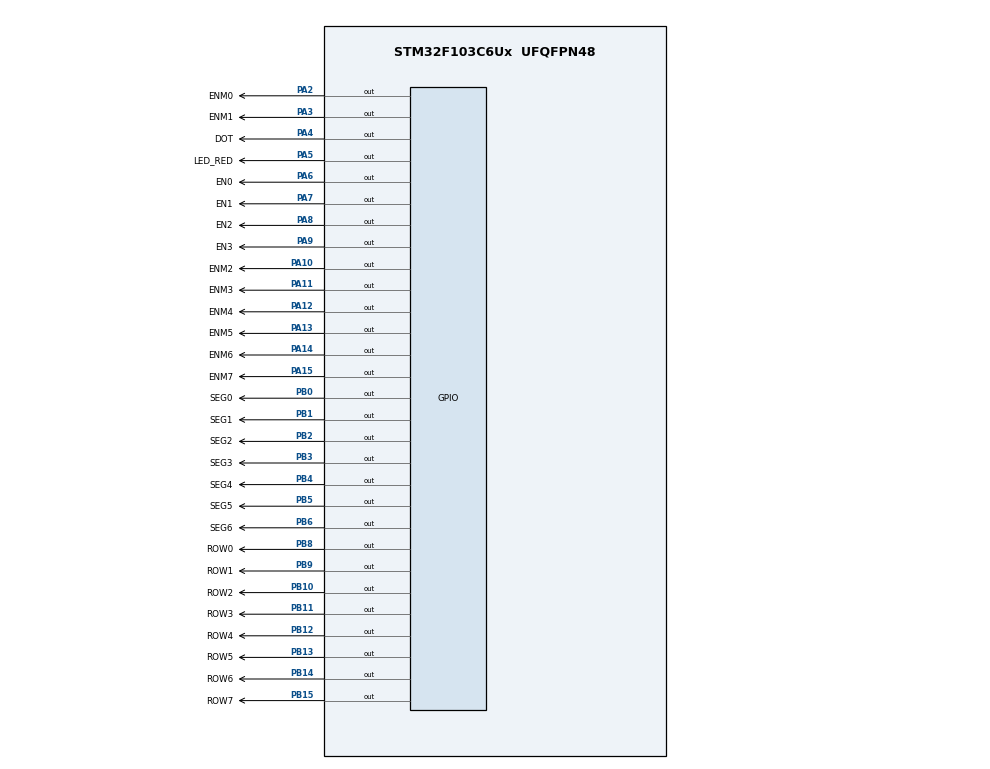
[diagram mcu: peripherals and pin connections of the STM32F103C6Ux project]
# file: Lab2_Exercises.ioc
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Mcu.Family=STM32F1
Mcu.Name=STM32F103C6Ux
Mcu.Package=UFQFPN48
NVIC.PriorityGroup=NVIC_PRIORITYGROUP_4
NVIC.TIM2_IRQn=true\:0\:0\:false\:false\:true\:true\:true
PA10.GPIO_Label=ENM2
PA10.Signal=GPIO_Output
PA11.GPIO_Label=ENM3
PA11.Signal=GPIO_Output
PA12.GPIO_Label=ENM4
PA12.Signal=GPIO_Output
PA13.GPIO_Label=ENM5
PA13.Signal=GPIO_Output
PA14.GPIO_Label=ENM6
PA14.Signal=GPIO_Output
PA15.GPIO_Label=ENM7
PA15.Signal=GPIO_Output
PA2.GPIO_Label=ENM0
PA2.Signal=GPIO_Output
PA3.GPIO_Label=ENM1
PA3.Signal=GPIO_Output
PA4.GPIO_Label=DOT
PA4.Signal=GPIO_Output
PA5.GPIO_Label=LED_RED
PA5.Signal=GPIO_Output
PA6.GPIO_Label=EN0
PA6.Signal=GPIO_Output
PA7.GPIO_Label=EN1
PA7.Signal=GPIO_Output
PA8.GPIO_Label=EN2
PA8.Signal=GPIO_Output
PA9.GPIO_Label=EN3
PA9.Signal=GPIO_Output
PB0.GPIO_Label=SEG0
PB0.Signal=GPIO_Output
PB1.GPIO_Label=SEG1
PB1.Signal=GPIO_Output
PB10.GPIO_Label=ROW2
PB10.Signal=GPIO_Output
PB11.GPIO_Label=ROW3
PB11.Signal=GPIO_Output
PB12.GPIO_Label=ROW4
PB12.Signal=GPIO_Output
PB13.GPIO_Label=ROW5
PB13.Signal=GPIO_Output
PB14.GPIO_Label=ROW6
PB14.Signal=GPIO_Output
PB15.GPIO_Label=ROW7
PB15.Signal=GPIO_Output
PB2.GPIO_Label=SEG2
PB2.Signal=GPIO_Output
PB3.GPIO_Label=SEG3
PB3.Signal=GPIO_Output
PB4.GPIO_Label=SEG4
PB4.Signal=GPIO_Output
PB5.GPIO_Label=SEG5
PB5.Signal=GPIO_Output
PB6.GPIO_Label=SEG6
PB6.Signal=GPIO_Output
PB8.GPIO_Label=ROW0
PB8.Signal=GPIO_Output
PB9.GPIO_Label=ROW1
PB9.Signal=GPIO_Output
ProjectManager.HeapSize=0x200
ProjectManager.StackSize=0x400
ProjectManager.TargetToolchain=STM32CubeIDE
RCC.APB1Freq_Value=8000000
RCC.APB2Freq_Value=8000000
TIM2.Period=9
TIM2.Prescaler=7999
VP_SYS_VS_ND.Mode=No_Debug
VP_TIM2_VS_ClockSourceINT.Mode=Internal
board=custom

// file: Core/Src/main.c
/* USER CODE BEGIN Header */
/**
  ******************************************************************************
  * @file           : main.c
  * @brief          : Main program body
  ******************************************************************************
  * @attention
  *
  * <h2><center>&copy; Copyright (c) 2023 STMicroelectronics.
  * All rights reserved.</center></h2>
  *
  * This software component is licensed by ST under BSD 3-Clause license,
  * the "License"; You may not use this file except in compliance with the
  * License. You may obtain a copy of the License at:
  *                        opensource.org/licenses/BSD-3-Clause
  *
  ******************************************************************************
  */
/* USER CODE END Header */
#include "main.h"

/* USER CODE BEGIN Includes */
#include <software_timer.h>
/* USER CODE END Includes */

TIM_HandleTypeDef htim2;

void SystemClock_Config(void);
static void MX_GPIO_Init(void);
static void MX_TIM2_Init(void);

/* USER CODE BEGIN 0 */
void display7SEG(int counter) {
	if(counter == 0) {
		HAL_GPIO_WritePin(SEG0_GPIO_Port, SEG0_Pin, RESET);
		HAL_GPIO_WritePin(SEG1_GPIO_Port, SEG1_Pin, RESET);
		HAL_GPIO_WritePin(SEG2_GPIO_Port, SEG2_Pin, RESET);
		HAL_GPIO_WritePin(SEG3_GPIO_Port, SEG3_Pin, RESET);
		HAL_GPIO_WritePin(SEG4_GPIO_Port, SEG4_Pin, RESET);
		HAL_GPIO_WritePin(SEG5_GPIO_Port, SEG5_Pin, RESET);
		HAL_GPIO_WritePin(SEG6_GPIO_Port, SEG6_Pin, SET);
	}
	else if(counter == 1) {
		HAL_GPIO_WritePin(SEG0_GPIO_Port, SEG0_Pin, SET);
		HAL_GPIO_WritePin(SEG1_GPIO_Port, SEG1_Pin, RESET);
		HAL_GPIO_WritePin(SEG2_GPIO_Port, SEG2_Pin, RESET);
		HAL_GPIO_WritePin(SEG3_GPIO_Port, SEG3_Pin, SET);
		HAL_GPIO_WritePin(SEG4_GPIO_Port, SEG4_Pin, SET);
		HAL_GPIO_WritePin(SEG5_GPIO_Port, SEG5_Pin, SET);
		HAL_GPIO_WritePin(SEG6_GPIO_Port, SEG6_Pin, SET);
	}
	else if(counter == 2) {
		HAL_GPIO_WritePin(SEG0_GPIO_Port, SEG0_Pin, RESET);
		HAL_GPIO_WritePin(SEG1_GPIO_Port, SEG1_Pin, RESET);
		HAL_GPIO_WritePin(SEG2_GPIO_Port, SEG2_Pin, SET);
		HAL_GPIO_WritePin(SEG3_GPIO_Port, SEG3_Pin, RESET);
		HAL_GPIO_WritePin(SEG4_GPIO_Port, SEG4_Pin, RESET);
		HAL_GPIO_WritePin(SEG5_GPIO_Port, SEG5_Pin, SET);
		HAL_GPIO_WritePin(SEG6_GPIO_Port, SEG6_Pin, RESET);
	}

	else if(counter == 3) {
		HAL_GPIO_WritePin(SEG0_GPIO_Port, SEG0_Pin, RESET);
		HAL_GPIO_WritePin(SEG1_GPIO_Port, SEG1_Pin, RESET);
		HAL_GPIO_WritePin(SEG2_GPIO_Port, SEG2_Pin, RESET);
		HAL_GPIO_WritePin(SEG3_GPIO_Port, SEG3_Pin, RESET);
		HAL_GPIO_WritePin(SEG4_GPIO_Port, SEG4_Pin, SET);
		HAL_GPIO_WritePin(SEG5_GPIO_Port, SEG5_Pin, SET);
		HAL_GPIO_WritePin(SEG6_GPIO_Port, SEG6_Pin, RESET);
	}
	else if(counter == 4) {
		HAL_GPIO_WritePin(SEG0_GPIO_Port, SEG0_Pin, SET);
		HAL_GPIO_WritePin(SEG1_GPIO_Port, SEG1_Pin, RESET);
		HAL_GPIO_WritePin(SEG2_GPIO_Port, SEG2_Pin, RESET);
		HAL_GPIO_WritePin(SEG3_GPIO_Port, SEG3_Pin, SET);
		HAL_GPIO_WritePin(SEG4_GPIO_Port, SEG4_Pin, SET);
		HAL_GPIO_WritePin(SEG5_GPIO_Port, SEG5_Pin, RESET);
		HAL_GPIO_WritePin(SEG6_GPIO_Port, SEG6_Pin, RESET);
	}
	else if(counter == 5) {
		HAL_GPIO_WritePin(SEG0_GPIO_Port, SEG0_Pin, RESET);
		HAL_GPIO_WritePin(SEG1_GPIO_Port, SEG1_Pin, SET);
		HAL_GPIO_WritePin(SEG2_GPIO_Port, SEG2_Pin, RESET);
		HAL_GPIO_WritePin(SEG3_GPIO_Port, SEG3_Pin, RESET);
		HAL_GPIO_WritePin(SEG4_GPIO_Port, SEG4_Pin, SET);
		HAL_GPIO_WritePin(SEG5_GPIO_Port, SEG5_Pin, RESET);
		HAL_GPIO_WritePin(SEG6_GPIO_Port, SEG6_Pin, RESET);
	}
	else if(counter == 6) {
		HAL_GPIO_WritePin(SEG0_GPIO_Port, SEG0_Pin, RESET);
		HAL_GPIO_WritePin(SEG1_GPIO_Port, SEG1_Pin, SET);
		HAL_GPIO_WritePin(SEG2_GPIO_Port, SEG2_Pin, RESET);
		HAL_GPIO_WritePin(SEG3_GPIO_Port, SEG3_Pin, RESET);
		HAL_GPIO_WritePin(SEG4_GPIO_Port, SEG4_Pin, RESET);
		HAL_GPIO_WritePin(SEG5_GPIO_Port, SEG5_Pin, RESET);
		HAL_GPIO_WritePin(SEG6_GPIO_Port, SEG6_Pin, RESET);
	}
	else if(counter == 7) {
		HAL_GPIO_WritePin(SEG0_GPIO_Port, SEG0_Pin, RESET);
		HAL_GPIO_WritePin(SEG1_GPIO_Port, SEG1_Pin, RESET);
		HAL_GPIO_WritePin(SEG2_GPIO_Port, SEG2_Pin, RESET);
		HAL_GPIO_WritePin(SEG3_GPIO_Port, SEG3_Pin, SET);
		HAL_GPIO_WritePin(SEG4_GPIO_Port, SEG4_Pin, SET);
		HAL_GPIO_WritePin(SEG5_GPIO_Port, SEG5_Pin, SET);
		HAL_GPIO_WritePin(SEG6_GPIO_Port, SEG6_Pin, SET);
	}
	else if(counter == 8) {
		HAL_GPIO_WritePin(SEG0_GPIO_Port, SEG0_Pin, RESET);
		HAL_GPIO_WritePin(SEG1_GPIO_Port, SEG1_Pin, RESET);
		HAL_GPIO_WritePin(SEG2_GPIO_Port, SEG2_Pin, RESET);
		HAL_GPIO_WritePin(SEG3_GPIO_Port, SEG3_Pin, RESET);
		HAL_GPIO_WritePin(SEG4_GPIO_Port, SEG4_Pin, RESET);
		HAL_GPIO_WritePin(SEG5_GPIO_Port, SEG5_Pin, RESET);
		HAL_GPIO_WritePin(SEG6_GPIO_Port, SEG6_Pin, RESET);
	}
	else if(counter == 9) {
		HAL_GPIO_WritePin(SEG0_GPIO_Port, SEG0_Pin, RESET);
		HAL_GPIO_WritePin(SEG1_GPIO_Port, SEG1_Pin, RESET);
		HAL_GPIO_WritePin(SEG2_GPIO_Port, SEG2_Pin, RESET);
		HAL_GPIO_WritePin(SEG3_GPIO_Port, SEG3_Pin, RESET);
		HAL_GPIO_WritePin(SEG4_GPIO_Port, SEG4_Pin, SET);
		HAL_GPIO_WritePin(SEG5_GPIO_Port, SEG5_Pin, RESET);
		HAL_GPIO_WritePin(SEG6_GPIO_Port, SEG6_Pin, RESET);
	}

}

const int MAX_LED = 4;
int index_led = 0;
int led_buffer[4] = {1,2,3,4};

void update7SEG(int index) {
	switch(index) {
	  case 0:
		  HAL_GPIO_WritePin(EN0_GPIO_Port, EN0_Pin, RESET);
		  HAL_GPIO_WritePin(EN1_GPIO_Port, EN1_Pin, SET);
		  HAL_GPIO_WritePin(EN2_GPIO_Port, EN2_Pin, SET);
		  HAL_GPIO_WritePin(EN3_GPIO_Port, EN3_Pin, SET);
		  display7SEG(led_buffer[0]);
		  break;
	  case 1:
		  HAL_GPIO_WritePin(EN0_GPIO_Port, EN0_Pin, SET);
		  HAL_GPIO_WritePin(EN1_GPIO_Port, EN1_Pin, RESET);
		  HAL_GPIO_WritePin(EN2_GPIO_Port, EN2_Pin, SET);
		  HAL_GPIO_WritePin(EN3_GPIO_Port, EN3_Pin, SET);
		  display7SEG(led_buffer[1]);
		  break;
	  case 2:
		  HAL_GPIO_WritePin(EN0_GPIO_Port, EN0_Pin, SET);
		  HAL_GPIO_WritePin(EN1_GPIO_Port, EN1_Pin, SET);
		  HAL_GPIO_WritePin(EN2_GPIO_Port, EN2_Pin, RESET);
		  HAL_GPIO_WritePin(EN3_GPIO_Port, EN3_Pin, SET);
		  display7SEG(led_buffer[2]);
		  break;
	  case 3:
		  HAL_GPIO_WritePin(EN0_GPIO_Port, EN0_Pin, SET);
		  HAL_GPIO_WritePin(EN1_GPIO_Port, EN1_Pin, SET);
		  HAL_GPIO_WritePin(EN2_GPIO_Port, EN2_Pin, SET);
		  HAL_GPIO_WritePin(EN3_GPIO_Port, EN3_Pin, RESET);
		  display7SEG(led_buffer[3]);
		  break;
	  default:
		  break;

	}
}

int hour = 15, minute = 8, second = 50;
void updateClockBuffer() {
	int temp;
	if(hour >= 10) {
		temp = hour;
		led_buffer[0] = temp/10;
		temp = temp%10;
		led_buffer[1] = temp;
	}
	else {
		led_buffer[0] = 0;
		led_buffer[1] = hour;
	}

	if(minute >= 10) {
		temp = minute;
		led_buffer[2] = temp/10;
		temp = temp%10;
		led_buffer[3] = temp;
	}
	else {
		led_buffer[2] = 0;
		led_buffer[3] = minute;
	}
}

const int MAX_LED_MATRIX = 8;
const int MAX_SHIFT_NUM = 8;
int index_led_matrix = 0;
int shift_number = 1;
int shift_number2 = 6;
uint8_t matrix_buffer[8] = {0x18, 0x3C, 0x66, 0x66, 0x7E, 0x7E, 0x66, 0x66};
uint8_t temp_matrix_buffer1[8];
uint8_t matrix_buffer2[8] = {0x7E, 0x7E, 0x06, 0x3E, 0x3E, 0x06, 0x7E, 0x7E};
void displayMatrixColumn(uint8_t counter) {
	HAL_GPIO_WritePin(GPIOA, ENM0_Pin, counter >> 0 & GPIO_PIN_SET);
	HAL_GPIO_WritePin(GPIOA, ENM1_Pin, counter >> 1 & GPIO_PIN_SET);
	HAL_GPIO_WritePin(GPIOA, ENM2_Pin, counter >> 2 & GPIO_PIN_SET);
	HAL_GPIO_WritePin(GPIOA, ENM3_Pin, counter >> 3 & GPIO_PIN_SET);
	HAL_GPIO_WritePin(GPIOA, ENM4_Pin, counter >> 4 & GPIO_PIN_SET);
	HAL_GPIO_WritePin(GPIOA, ENM5_Pin, counter >> 5 & GPIO_PIN_SET);
	HAL_GPIO_WritePin(GPIOA, ENM6_Pin, counter >> 6 & GPIO_PIN_SET);
	HAL_GPIO_WritePin(GPIOA, ENM7_Pin, counter >> 7 & GPIO_PIN_SET);
}
void updateLEDMatrix(int index) {
	switch(index) {
	case 0:
		HAL_GPIO_WritePin(GPIOB, ROW0_Pin, GPIO_PIN_SET);
		HAL_GPIO_WritePin(GPIOB, ROW1_Pin | ROW2_Pin | ROW3_Pin | ROW4_Pin | ROW5_Pin | ROW6_Pin | ROW7_Pin, GPIO_PIN_RESET);
		break;
	case 1:
		HAL_GPIO_WritePin(GPIOB, ROW1_Pin, GPIO_PIN_SET);
		HAL_GPIO_WritePin(GPIOB, ROW0_Pin | ROW2_Pin | ROW3_Pin | ROW4_Pin | ROW5_Pin | ROW6_Pin | ROW7_Pin, GPIO_PIN_RESET);
		break;
	case 2:
		HAL_GPIO_WritePin(GPIOB, ROW2_Pin, GPIO_PIN_SET);
		HAL_GPIO_WritePin(GPIOB, ROW0_Pin | ROW1_Pin | ROW3_Pin | ROW4_Pin | ROW5_Pin | ROW6_Pin | ROW7_Pin, GPIO_PIN_RESET);
		break;
	case 3:
		HAL_GPIO_WritePin(GPIOB, ROW3_Pin, GPIO_PIN_SET);
		HAL_GPIO_WritePin(GPIOB, ROW0_Pin | ROW1_Pin | ROW2_Pin | ROW4_Pin | ROW5_Pin | ROW6_Pin | ROW7_Pin, GPIO_PIN_RESET);
		break;
	case 4:
		HAL_GPIO_WritePin(GPIOB, ROW4_Pin, GPIO_PIN_SET);
		HAL_GPIO_WritePin(GPIOB, ROW0_Pin | ROW1_Pin | ROW2_Pin | ROW3_Pin | ROW5_Pin | ROW6_Pin | ROW7_Pin, GPIO_PIN_RESET);
		break;
	case 5:
		HAL_GPIO_WritePin(GPIOB, ROW5_Pin, GPIO_PIN_SET);
		HAL_GPIO_WritePin(GPIOB, ROW0_Pin | ROW1_Pin | ROW2_Pin | ROW3_Pin | ROW4_Pin | ROW6_Pin | ROW7_Pin, GPIO_PIN_RESET);
		break;
	case 6:
		HAL_GPIO_WritePin(GPIOB, ROW6_Pin, GPIO_PIN_SET);
		HAL_GPIO_WritePin(GPIOB, ROW0_Pin | ROW1_Pin | ROW2_Pin | ROW3_Pin | ROW4_Pin | ROW5_Pin | ROW7_Pin, GPIO_PIN_RESET);
		break;
	case 7:
		HAL_GPIO_WritePin(GPIOB, ROW7_Pin, GPIO_PIN_SET);
		HAL_GPIO_WritePin(GPIOB, ROW0_Pin | ROW1_Pin | ROW2_Pin | ROW3_Pin | ROW4_Pin | ROW5_Pin | ROW6_Pin, GPIO_PIN_RESET);
		break;
	default:
		break;
	}
}

void moveLeft(int shift_number, int shift_number2, uint8_t matrix1[8], uint8_t matrix2[8]) {
	temp_matrix_buffer1[0] = (matrix1[0] >> shift_number) | (matrix2[0] << shift_number2);
	temp_matrix_buffer1[1] = (matrix1[1] >> shift_number) | (matrix2[1] << shift_number2);
	temp_matrix_buffer1[2] = (matrix1[2] >> shift_number) | (matrix2[2] << shift_number2);
	temp_matrix_buffer1[3] = (matrix1[3] >> shift_number) | (matrix2[3] << shift_number2);
	temp_matrix_buffer1[4] = (matrix1[4] >> shift_number) | (matrix2[4] << shift_number2);
	temp_matrix_buffer1[5] = (matrix1[5] >> shift_number) | (matrix2[5] << shift_number2);
	temp_matrix_buffer1[6] = (matrix1[6] >> shift_number) | (matrix2[6] << shift_number2);
	temp_matrix_buffer1[7] = (matrix1[7] >> shift_number) | (matrix2[7] << shift_number2);
}

/* USER CODE END 0 */

int main(void)
{

  /* MCU Configuration--------------------------------------------------------*/

  /* Reset of all peripherals, Initializes the Flash interface and the Systick. */
  HAL_Init();

  /* Configure the system clock */
  SystemClock_Config();

  /* Initialize all configured peripherals */
  MX_GPIO_Init();
  MX_TIM2_Init();
  /* USER CODE BEGIN 2 */
  HAL_TIM_Base_Start_IT(&htim2);
  /* USER CODE END 2 */

  /* Infinite loop */
  /* USER CODE BEGIN WHILE */
  setTimer1(100);	//Every second 2 LED blinks
  setTimer2(25);	//Half second each 7 led segment will display
  setTimer3(100);
  setTimer4(10);
  int currState = 1;
  while (1)
  {
	  if(timer1_flag == 1) {
		  setTimer1(100);
		  HAL_GPIO_TogglePin(DOT_GPIO_Port, DOT_Pin);
	  }

	  if(timer2_flag == 1) {
		  updateClockBuffer();
		  setTimer2(25);
		  update7SEG(index_led);
		  index_led++;
		  if(index_led == MAX_LED) index_led = 0;
	  }

	  if(timer3_flag == 1) {
		  setTimer3(100);
		  second++;
		  if(second >= 60) {
			  second = 0;
			  minute++;
		  }
		  if(minute >= 60) {
			  minute = 0;
			  hour++;
		  }
		  if(hour >= 24) {
			  hour = 0;
		  }
	  }

	  if(timer4_flag == 1) {
		  setTimer4(10);
		  updateLEDMatrix(index_led_matrix);
		  if(currState == 1) {
			  temp_matrix_buffer1[index_led_matrix] = matrix_buffer[index_led_matrix];
		  }
		  else if(currState == 2) {
			  temp_matrix_buffer1[index_led_matrix] = matrix_buffer2[index_led_matrix];
		  }
		  displayMatrixColumn(temp_matrix_buffer1[index_led_matrix]);
		  index_led_matrix++;
		  if(index_led_matrix == MAX_LED_MATRIX) {
			  index_led_matrix = 0;
			  if(currState == 1) currState = 3;
			  else if(currState == 2) currState = 4;
			  if(currState == 3) {
				  moveLeft(shift_number, shift_number2, matrix_buffer, matrix_buffer2);
			  }
			  else if(currState == 4) {
				  moveLeft(shift_number, shift_number2, matrix_buffer2, matrix_buffer);
			  }
			  shift_number++;
			  shift_number2--;
			  if(shift_number == MAX_SHIFT_NUM) shift_number = 1;
			  if(shift_number2 < 0) {
				  shift_number2 = 6;
				  if(currState == 3) currState = 2;
				  else if(currState == 4) currState = 1;
			  }
		  }
	  }
    /* USER CODE END WHILE */

  }
}

void SystemClock_Config(void)
{
  RCC_OscInitTypeDef RCC_OscInitStruct = {0};
  RCC_ClkInitTypeDef RCC_ClkInitStruct = {0};

  /** Initializes the RCC Oscillators according to the specified parameters
  * in the RCC_OscInitTypeDef structure.
  */
  RCC_OscInitStruct.OscillatorType = RCC_OSCILLATORTYPE_HSI;
  RCC_OscInitStruct.HSIState = RCC_HSI_ON;
  RCC_OscInitStruct.HSICalibrationValue = RCC_HSICALIBRATION_DEFAULT;
  RCC_OscInitStruct.PLL.PLLState = RCC_PLL_NONE;
  if (HAL_RCC_OscConfig(&RCC_OscInitStruct) != HAL_OK)
  {
    Error_Handler();
  }
  /** Initializes the CPU, AHB and APB buses clocks
  */
  RCC_ClkInitStruct.ClockType = RCC_CLOCKTYPE_HCLK|RCC_CLOCKTYPE_SYSCLK
                              |RCC_CLOCKTYPE_PCLK1|RCC_CLOCKTYPE_PCLK2;
  RCC_ClkInitStruct.SYSCLKSource = RCC_SYSCLKSOURCE_HSI;
  RCC_ClkInitStruct.AHBCLKDivider = RCC_SYSCLK_DIV1;
  RCC_ClkInitStruct.APB1CLKDivider = RCC_HCLK_DIV1;
  RCC_ClkInitStruct.APB2CLKDivider = RCC_HCLK_DIV1;

  if (HAL_RCC_ClockConfig(&RCC_ClkInitStruct, FLASH_LATENCY_0) != HAL_OK)
  {
    Error_Handler();
  }
}

static void MX_TIM2_Init(void)
{

  TIM_ClockConfigTypeDef sClockSourceConfig = {0};
  TIM_MasterConfigTypeDef sMasterConfig = {0};

  htim2.Instance = TIM2;
  htim2.Init.Prescaler = 7999;
  htim2.Init.CounterMode = TIM_COUNTERMODE_UP;
  htim2.Init.Period = 9;
  htim2.Init.ClockDivision = TIM_CLOCKDIVISION_DIV1;
  htim2.Init.AutoReloadPreload = TIM_AUTORELOAD_PRELOAD_DISABLE;
  if (HAL_TIM_Base_Init(&htim2) != HAL_OK)
  {
    Error_Handler();
  }
  sClockSourceConfig.ClockSource = TIM_CLOCKSOURCE_INTERNAL;
  if (HAL_TIM_ConfigClockSource(&htim2, &sClockSourceConfig) != HAL_OK)
  {
    Error_Handler();
  }
  sMasterConfig.MasterOutputTrigger = TIM_TRGO_RESET;
  sMasterConfig.MasterSlaveMode = TIM_MASTERSLAVEMODE_DISABLE;
  if (HAL_TIMEx_MasterConfigSynchronization(&htim2, &sMasterConfig) != HAL_OK)
  {
    Error_Handler();
  }

}

static void MX_GPIO_Init(void)
{
  GPIO_InitTypeDef GPIO_InitStruct = {0};

  /* GPIO Ports Clock Enable */
  __HAL_RCC_GPIOA_CLK_ENABLE();
  __HAL_RCC_GPIOB_CLK_ENABLE();

  /*Configure GPIO pin Output Level */
  HAL_GPIO_WritePin(GPIOA, ENM0_Pin|ENM1_Pin|DOT_Pin|LED_RED_Pin
                          |EN0_Pin|EN1_Pin|EN2_Pin|EN3_Pin
                          |ENM2_Pin|ENM3_Pin|ENM4_Pin|ENM5_Pin
                          |ENM6_Pin|ENM7_Pin, GPIO_PIN_RESET);

  /*Configure GPIO pin Output Level */
  HAL_GPIO_WritePin(GPIOB, SEG0_Pin|SEG1_Pin|SEG2_Pin|ROW2_Pin
                          |ROW3_Pin|ROW4_Pin|ROW5_Pin|ROW6_Pin
                          |ROW7_Pin|SEG3_Pin|SEG4_Pin|SEG5_Pin
                          |SEG6_Pin|ROW0_Pin|ROW1_Pin, GPIO_PIN_RESET);

  /*Configure GPIO pins : ENM0_Pin ENM1_Pin DOT_Pin LED_RED_Pin
                           EN0_Pin EN1_Pin EN2_Pin EN3_Pin
                           ENM2_Pin ENM3_Pin ENM4_Pin ENM5_Pin
                           ENM6_Pin ENM7_Pin */
  GPIO_InitStruct.Pin = ENM0_Pin|ENM1_Pin|DOT_Pin|LED_RED_Pin
                          |EN0_Pin|EN1_Pin|EN2_Pin|EN3_Pin
                          |ENM2_Pin|ENM3_Pin|ENM4_Pin|ENM5_Pin
                          |ENM6_Pin|ENM7_Pin;
  GPIO_InitStruct.Mode = GPIO_MODE_OUTPUT_PP;
  GPIO_InitStruct.Pull = GPIO_NOPULL;
  GPIO_InitStruct.Speed = GPIO_SPEED_FREQ_LOW;
  HAL_GPIO_Init(GPIOA, &GPIO_InitStruct);

  /*Configure GPIO pins : SEG0_Pin SEG1_Pin SEG2_Pin ROW2_Pin
                           ROW3_Pin ROW4_Pin ROW5_Pin ROW6_Pin
                           ROW7_Pin SEG3_Pin SEG4_Pin SEG5_Pin
                           SEG6_Pin ROW0_Pin ROW1_Pin */
  GPIO_InitStruct.Pin = SEG0_Pin|SEG1_Pin|SEG2_Pin|ROW2_Pin
                          |ROW3_Pin|ROW4_Pin|ROW5_Pin|ROW6_Pin
                          |ROW7_Pin|SEG3_Pin|SEG4_Pin|SEG5_Pin
                          |SEG6_Pin|ROW0_Pin|ROW1_Pin;
  GPIO_InitStruct.Mode = GPIO_MODE_OUTPUT_PP;
  GPIO_InitStruct.Pull = GPIO_NOPULL;
  GPIO_InitStruct.Speed = GPIO_SPEED_FREQ_LOW;
  HAL_GPIO_Init(GPIOB, &GPIO_InitStruct);

}

/* USER CODE BEGIN 4 */
void HAL_TIM_PeriodElapsedCallback(TIM_HandleTypeDef *htim) {
	timerRun();
}
/* USER CODE END 4 */

void Error_Handler(void)
{
  __disable_irq();
  while (1)
  {
  }
}

/************************ (C) COPYRIGHT STMicroelectronics *****END OF FILE****/
